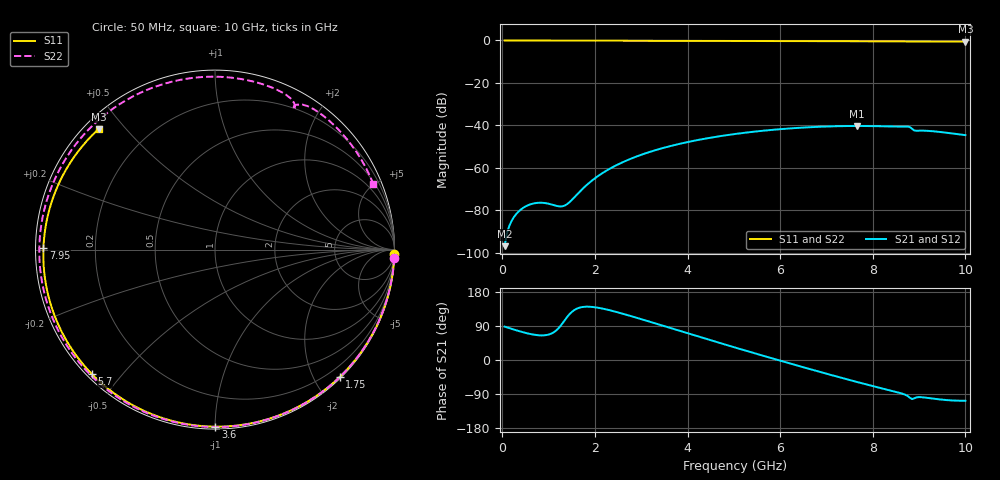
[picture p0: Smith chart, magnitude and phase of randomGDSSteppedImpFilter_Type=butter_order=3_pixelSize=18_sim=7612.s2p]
! freq	dB(S11)	phase(S11)	dB(S12)	phase(S12)
!  dB(S21)	phase(S21)	dB(S22)	phase(S22)
!S-par simulation data
#  GHz  S  DB  R 50
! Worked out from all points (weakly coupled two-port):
!   200 points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, 50 MHz to 10 GHz, reference 50 ohm
!   highest |S21| = -40.30 dB at 7.65 GHz (marker M1); lowest = -96.9 dB at 50 MHz (marker M2)
!   lowest |S11| = -0.6 dB at 10 GHz (marker M3), VSWR 29.07, Z = 2.03 + j21.3 ohm
!   |S11| at or under -10 dB: nowhere
!   |S22| runs from -0.9 to 0.0 dB; largest |S21 - S12| = 0
!   S11 on the Smith chart (normalised r, x): 50 MHz: 0, -85; 1.75 GHz: 0.02, -2.37; 3.6 GHz: 0.01, -1.00; 5.7 GHz: 0.01, -0.42; 7.95 GHz: 0.02, +0.01; 10 GHz: 0.04, +0.43
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0.05  -0.00 -1.4  -96.93 88.0  -96.93 88.0  -0.00 -2.7
0.35  -0.01 -9.3  -80.64 76.6  -80.64 76.6  -0.03 -18.6
0.75  -0.02 -19.9  -76.54 65.7  -76.54 65.7  -0.05 -39.2
1.3  -0.04 -34.2  -78.14 96.8  -78.14 96.8  -0.08 -65.9
1.45  -0.05 -38.1  -76.23 120.7  -76.23 120.7  -0.08 -72.7
1.75  -0.06 -45.7  -69.56 140.1  -69.56 140.1  -0.10 -85.7
2.05  -0.07 -53.2  -64.16 138.3  -64.16 138.3  -0.11 -97.9
2.45  -0.08 -63.0  -58.94 127.2  -58.94 127.2  -0.12 -113.1
2.95  -0.10 -74.9  -54.26 109.7  -54.26 109.7  -0.13 -130.5
3.4  -0.11 -85.3  -51.10 93.0  -51.10 93.0  -0.14 -144.9
3.6  -0.12 -89.9  -49.92 85.5  -49.92 85.5  -0.15 -151.0
4.3  -0.14 -105.3  -46.59 59.4  -46.59 59.4  -0.17 -171.2
5.05  -0.18 -121.3  -44.01 32.1  -44.01 32.1  -0.20 168.2
5.7  -0.22 -134.7  -42.39 8.8  -42.39 8.8  -0.23 150.8
6.7  -0.29 -155.0  -40.81 -26.0  -40.81 -26.0  -0.27 123.8
7.65  -0.36 -174.4  -40.30 -57.7  -40.30 -57.7  -0.31 96.7
7.95  -0.39 179.4  -40.34 -67.3  -40.34 -67.3  -0.33 87.7
8.35  -0.43 170.9  -40.53 -79.6  -40.53 -79.6  -0.36 75.3
8.75  -0.47 162.3  -40.59 -94.8  -40.59 -94.8  -0.65 61.6
8.9  -0.49 159.0  -42.44 -101.0  -42.44 -101.0  -0.70 60.9
9.1  -0.51 154.6  -42.50 -98.7  -42.50 -98.7  -0.37 53.3
10  -0.60 133.9  -44.61 -107.5  -44.61 -107.5  -0.41 22.4
